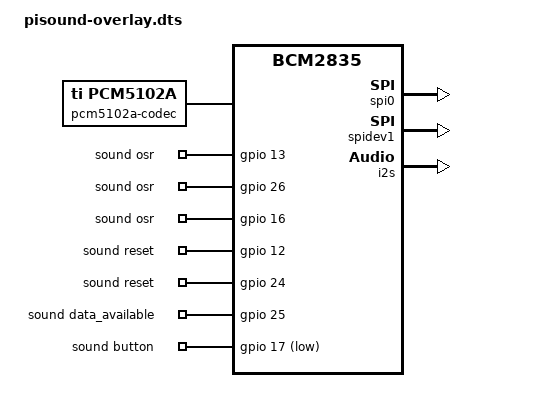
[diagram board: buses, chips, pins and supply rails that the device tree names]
/*
 * Pisound Linux kernel module.
 * Copyright (C) 2016-2017  Vilniaus Blokas UAB, https://blokas.io/pisound
 *
 * This program is free software; you can redistribute it and/or
 * modify it under the terms of the GNU General Public License
 * as published by the Free Software Foundation; version 2 of the
 * License.
 *
 * This program is distributed in the hope that it will be useful,
 * but WITHOUT ANY WARRANTY; without even the implied warranty of
 * MERCHANTABILITY or FITNESS FOR A PARTICULAR PURPOSE.  See the
 * GNU General Public License for more details.
 *
 * You should have received a copy of the GNU General Public License
 * along with this program; if not, write to the Free Software
 * Foundation, Inc., 51 Franklin Street, Fifth Floor, Boston, MA  02110-1301, USA.
 */

/dts-v1/;
/plugin/;

#include <dt-bindings/gpio/gpio.h>

/ {
	compatible = "brcm,bcm2835";

	fragment@0 {
		target = <&spi0>;
		__overlay__ {
			status = "okay";
		};
	};

	fragment@1 {
		target = <&spidev0>;
		__overlay__ {
			status = "disabled";
		};
	};

	fragment@2 {
		target = <&spidev1>;
		__overlay__ {
			status = "okay";
		};
	};

	fragment@3 {
		target = <&spi0>;
		__overlay__ {
			#address-cells = <1>;
			#size-cells = <0>;

			pisound_spi: pisound_spi@0{
				compatible = "blokaslabs,pisound-spi";
				reg = <0>;
				pinctrl-names = "default";
				pinctrl-0 = <&spi0_pins>;
				spi-max-frequency = <1000000>;
			};
		};
	};

	fragment@4 {
		target-path = "/";
		__overlay__ {
			pcm5102a-codec {
				#sound-dai-cells = <0>;
				compatible = "ti,pcm5102a";
				status = "okay";
			};
		};
	};

	fragment@5 {
		target = <&sound>;
		__overlay__ {
			compatible = "blokaslabs,pisound";
			i2s-controller = <&i2s>;
			status = "okay";

			pinctrl-0 = <&pisound_button_pins>;

			osr-gpios =
				<&gpio 13 GPIO_ACTIVE_HIGH>,
				<&gpio 26 GPIO_ACTIVE_HIGH>,
				<&gpio 16 GPIO_ACTIVE_HIGH>;

			reset-gpios =
				<&gpio 12 GPIO_ACTIVE_HIGH>,
				<&gpio 24 GPIO_ACTIVE_HIGH>;

			data_available-gpios = <&gpio 25 GPIO_ACTIVE_HIGH>;

			button-gpios = <&gpio 17 GPIO_ACTIVE_LOW>;
		};
	};

	fragment@6 {
		target = <&gpio>;
		__overlay__ {
			pinctrl-names = "default";
			pinctrl-0 = <&pisound_button_pins>;

			pisound_button_pins: pisound_button_pins {
				brcm,pins = <17>;
				brcm,function = <0>; // Input
				brcm,pull = <2>; // Pull-Up
			};
		};
	};

	fragment@7 {
		target = <&i2s>;
		__overlay__ {
			status = "okay";
		};
	};
};
